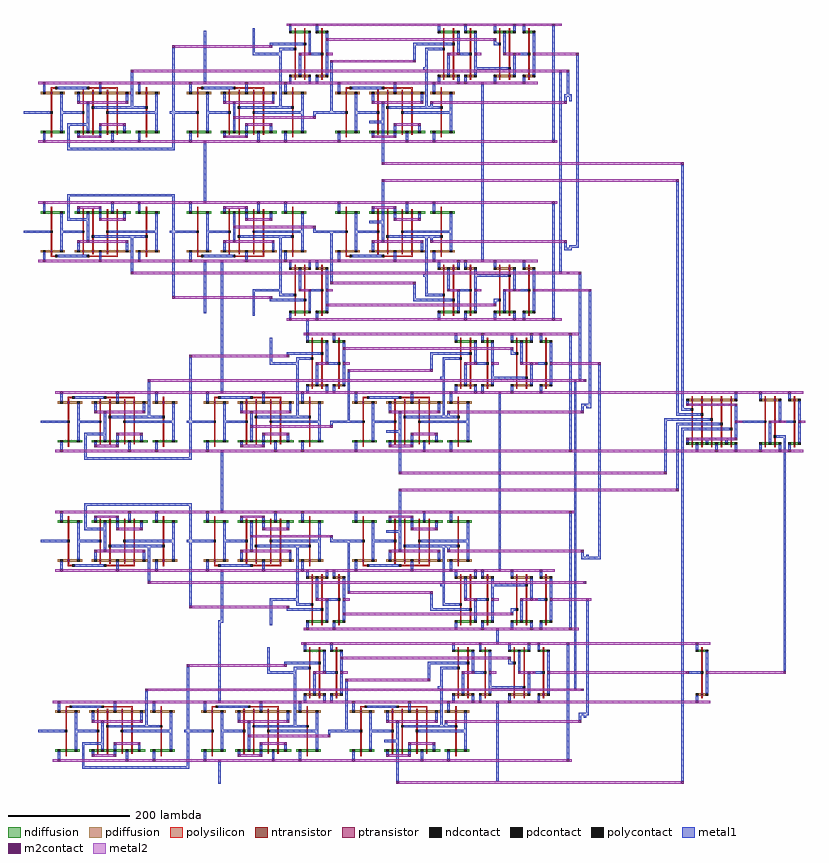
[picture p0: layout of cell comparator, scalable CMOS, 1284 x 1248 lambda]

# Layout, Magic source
magic
tech scmos
<< metal1 >>
rect 1072 608 1076 988
rect 1080 612 1084 1016
rect 1072 604 1080 608
rect 1052 596 1080 600
rect 1052 512 1056 596
rect 1180 592 1216 596
rect 1072 588 1080 592
rect 1072 484 1076 588
rect 1080 4 1084 584
rect 1236 568 1252 572
rect 1248 184 1252 568
rect 1092 180 1096 184
<< metal2 >>
rect 592 1016 1080 1020
rect 592 988 1072 992
rect 872 640 1084 644
rect 1176 640 1204 644
rect 904 544 1116 548
rect 1176 544 1204 548
rect 620 508 1052 512
rect 620 480 1072 484
rect 908 228 1100 232
rect 932 180 1088 184
rect 1132 180 1248 184
rect 868 132 1100 136
rect 616 0 1080 4
<< polycontact >>
rect 1216 592 1220 596
rect 1232 568 1236 572
<< m2contact >>
rect 588 1016 592 1020
rect 1080 1016 1084 1020
rect 588 988 592 992
rect 1072 988 1076 992
rect 1176 592 1180 596
rect 616 508 620 512
rect 1052 508 1056 512
rect 616 480 620 484
rect 1072 480 1076 484
rect 1088 180 1092 184
rect 1248 180 1252 184
rect 612 0 616 4
rect 1080 0 1084 4
use adder5bit  adder5bit_0
transform 1 0 -428 0 1 880
box 428 -880 1376 368
use nor  nor_0
transform 1 0 1128 0 1 604
box -48 -60 52 40
use or  or_0
transform 1 0 1204 0 1 544
box 0 0 80 100
use not  not_0
transform 1 0 1092 0 -1 180
box 4 -52 40 48
<< end >>

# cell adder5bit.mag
magic
tech scmos
<< metal1 >>
rect 804 356 808 360
rect 428 220 432 224
rect 724 112 728 138
rect 1016 136 1020 140
rect 1016 108 1020 112
rect 1180 107 1184 141
rect 428 24 432 28
rect 752 -179 756 -24
rect 1308 -40 1312 288
rect 1320 248 1324 288
rect 1324 240 1328 244
rect 1336 4 1340 316
rect 1324 0 1340 4
rect 804 -112 808 -108
rect 892 -140 896 -120
rect 832 -156 836 -148
rect 1340 -216 1344 -44
rect 456 -288 460 -284
rect 752 -412 756 -345
rect 1044 -372 1048 -368
rect 1044 -400 1048 -396
rect 1208 -415 1212 -360
rect 456 -484 460 -480
rect 1332 -548 1336 -220
rect 1356 -264 1360 -72
rect 1372 -508 1376 -192
rect 1344 -512 1376 -508
rect 748 -661 752 -612
rect 832 -620 836 -616
rect 1204 -648 1208 -628
rect 828 -660 832 -656
rect 1332 -724 1336 -552
rect 1352 -768 1356 -580
rect 452 -796 456 -792
rect 1040 -880 1044 -876
<< metal2 >>
rect 1328 316 1336 320
rect 1320 -44 1340 -40
rect 1332 -72 1356 -68
rect 1356 -192 1372 -188
rect 1356 -700 1360 -696
<< m2contact >>
rect 1336 316 1340 320
rect 1308 288 1312 292
rect 752 -24 756 -20
rect 1320 288 1324 292
rect 1308 -44 1312 -40
rect 1340 -44 1344 -40
rect 892 -120 896 -116
rect 892 -144 896 -140
rect 1332 -220 1336 -216
rect 1340 -220 1344 -216
rect 1356 -72 1360 -68
rect 1372 -192 1376 -188
rect 1332 -552 1336 -548
rect 1204 -628 1208 -624
rect 1204 -652 1208 -648
rect 1332 -728 1336 -724
rect 1352 -580 1356 -576
use addsub  addsub_3
transform 1 0 680 0 -1 -416
box -220 -20 680 212
use addsub  addsub_0
transform 1 0 652 0 1 156
box -220 -20 680 212
use addsub  addsub_1
transform 1 0 652 0 -1 92
box -220 -20 680 212
use addsub  addsub_2
transform 1 0 680 0 1 -352
box -220 -20 680 212
use addsub  addsub_4
transform 1 0 676 0 1 -860
box -220 -20 680 212
<< end >>

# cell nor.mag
magic
tech scmos
<< polysilicon >>
rect -31 28 -29 32
rect -15 28 -13 32
rect 1 28 3 32
rect 17 28 19 32
rect 33 28 35 32
rect -31 12 -29 24
rect -31 -44 -29 8
rect -15 4 -13 24
rect -15 -44 -13 0
rect 1 -4 3 24
rect 1 -44 3 -8
rect 17 -12 19 24
rect 17 -44 19 -16
rect 33 -20 35 24
rect 33 -44 35 -24
rect -31 -52 -29 -48
rect -15 -52 -13 -48
rect 1 -52 3 -48
rect 17 -52 19 -48
rect 33 -52 35 -48
<< ndiffusion >>
rect -36 -48 -31 -44
rect -29 -48 -24 -44
rect -20 -48 -15 -44
rect -13 -48 -8 -44
rect -4 -48 1 -44
rect 3 -48 8 -44
rect 12 -48 17 -44
rect 19 -48 24 -44
rect 28 -48 33 -44
rect 35 -48 40 -44
<< pdiffusion >>
rect -36 24 -31 28
rect -29 24 -15 28
rect -13 24 1 28
rect 3 24 17 28
rect 19 24 33 28
rect 35 24 40 28
<< metal1 >>
rect 40 28 44 36
rect -40 20 -36 24
rect -36 16 40 20
rect -48 8 -32 12
rect -48 0 -16 4
rect -48 -8 0 -4
rect 40 -8 44 16
rect 44 -12 48 -8
rect -48 -16 16 -12
rect -48 -24 32 -20
rect 40 -36 44 -12
rect -36 -40 40 -36
rect -40 -44 -36 -40
rect -8 -44 -4 -40
rect 24 -44 28 -40
rect -24 -56 -20 -48
rect 8 -56 12 -48
rect 40 -56 44 -48
<< metal2 >>
rect -44 36 40 40
rect 44 36 48 40
rect -36 16 40 20
rect 44 -12 52 -8
rect -36 -40 40 -36
rect -44 -60 -24 -56
rect -20 -60 8 -56
rect 12 -60 40 -56
rect 44 -60 48 -56
<< ntransistor >>
rect -31 -48 -29 -44
rect -15 -48 -13 -44
rect 1 -48 3 -44
rect 17 -48 19 -44
rect 33 -48 35 -44
<< ptransistor >>
rect -31 24 -29 28
rect -15 24 -13 28
rect 1 24 3 28
rect 17 24 19 28
rect 33 24 35 28
<< polycontact >>
rect -32 8 -28 12
rect -16 0 -12 4
rect 0 -8 4 -4
rect 16 -16 20 -12
rect 32 -24 36 -20
<< ndcontact >>
rect -40 -48 -36 -44
rect -24 -48 -20 -44
rect -8 -48 -4 -44
rect 8 -48 12 -44
rect 24 -48 28 -44
rect 40 -48 44 -44
<< pdcontact >>
rect -40 24 -36 28
rect 40 24 44 28
<< m2contact >>
rect 40 36 44 40
rect -40 16 -36 20
rect 40 16 44 20
rect 40 -12 44 -8
rect -40 -40 -36 -36
rect 40 -40 44 -36
rect -24 -60 -20 -56
rect 8 -60 12 -56
rect 40 -60 44 -56
<< end >>

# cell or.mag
magic
tech scmos
<< metal2 >>
rect 44 96 48 100
rect 44 0 48 4
<< m2contact >>
rect 44 48 48 52
use not  not_0
transform 1 0 40 0 1 52
box 4 -52 40 48
use nor1  nor1_0
transform 1 0 -4 0 1 52
box 4 -52 52 48
<< end >>

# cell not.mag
magic
tech scmos
<< polysilicon >>
rect 21 36 23 40
rect 21 0 23 32
rect 21 -36 23 -4
rect 21 -44 23 -40
<< ndiffusion >>
rect 16 -40 21 -36
rect 23 -40 28 -36
<< pdiffusion >>
rect 16 32 21 36
rect 23 32 28 36
<< metal1 >>
rect 12 36 16 44
rect 28 0 32 32
rect 4 -4 20 0
rect 28 -36 32 -4
rect 12 -48 16 -40
<< metal2 >>
rect 8 44 12 48
rect 16 44 36 48
rect 32 -4 40 0
rect 8 -52 12 -48
rect 16 -52 36 -48
<< ntransistor >>
rect 21 -40 23 -36
<< ptransistor >>
rect 21 32 23 36
<< polycontact >>
rect 20 -4 24 0
<< ndcontact >>
rect 12 -40 16 -36
rect 28 -40 32 -36
<< pdcontact >>
rect 12 32 16 36
rect 28 32 32 36
<< m2contact >>
rect 12 44 16 48
rect 28 -4 32 0
rect 12 -52 16 -48
<< end >>

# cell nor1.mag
magic
tech scmos
<< polysilicon >>
rect 17 36 19 40
rect 33 36 35 40
rect 17 -36 19 32
rect 33 -36 35 32
rect 17 -44 19 -40
rect 33 -44 35 -40
<< ndiffusion >>
rect 12 -40 17 -36
rect 19 -40 24 -36
rect 28 -40 33 -36
rect 35 -40 40 -36
<< pdiffusion >>
rect 12 32 17 36
rect 19 32 33 36
rect 35 32 40 36
<< metal1 >>
rect 8 36 12 44
rect 40 0 44 32
rect 24 -36 28 -4
rect 8 -48 12 -40
rect 40 -48 44 -40
<< metal2 >>
rect 4 44 8 48
rect 12 44 48 48
rect 28 -4 40 0
rect 44 -4 52 0
rect 4 -52 8 -48
rect 12 -52 40 -48
rect 44 -52 48 -48
<< ntransistor >>
rect 17 -40 19 -36
rect 33 -40 35 -36
<< ptransistor >>
rect 17 32 19 36
rect 33 32 35 36
<< ndcontact >>
rect 8 -40 12 -36
rect 24 -40 28 -36
rect 40 -40 44 -36
<< pdcontact >>
rect 8 32 12 36
rect 40 32 44 36
<< m2contact >>
rect 8 44 12 48
rect 24 -4 28 0
rect 40 -4 44 0
rect 8 -52 12 -48
rect 40 -52 44 -48
<< end >>

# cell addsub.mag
magic
tech scmos
<< metal1 >>
rect 72 186 76 200
rect 152 182 156 200
rect 21 155 24 159
rect -48 72 -44 132
rect -220 64 -205 68
rect -152 64 -148 68
rect -152 44 -116 48
rect -152 8 -148 44
rect 20 8 24 68
rect -152 4 24 8
rect 72 -20 76 -10
rect 364 -16 368 -8
rect 528 -16 532 112
rect 668 92 672 96
rect 672 88 676 92
<< metal2 >>
rect 656 208 660 212
rect 672 160 680 164
rect -44 132 668 136
rect -6 112 48 116
rect -10 16 44 20
<< m2contact >>
rect -48 132 -44 136
rect 668 132 672 136
rect 528 112 532 116
use xor3  xor3_0
transform 1 0 -120 0 1 20
box -96 -4 124 96
use adder3  adder2_0
transform 1 0 44 0 1 48
box -28 -63 632 164
<< end >>

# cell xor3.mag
magic
tech scmos
<< polysilicon >>
rect -59 85 -52 87
rect -59 82 -57 85
rect 4 85 51 87
rect -7 80 -5 83
rect 9 80 11 83
rect 33 80 35 83
rect 49 80 51 85
rect -7 48 -5 76
rect 9 56 11 76
rect -7 16 -5 44
rect 9 16 11 52
rect 33 48 35 76
rect 33 16 35 44
rect 49 16 51 76
rect -7 9 -5 12
rect 9 9 11 12
rect 33 9 35 12
rect 49 9 51 12
<< ndiffusion >>
rect -20 12 -16 16
rect -12 12 -7 16
rect -5 12 0 16
rect 4 12 9 16
rect 11 12 20 16
rect 24 12 33 16
rect 35 12 40 16
rect 44 12 49 16
rect 51 12 60 16
rect 64 12 72 16
<< pdiffusion >>
rect -20 76 -16 80
rect -12 76 -7 80
rect -5 76 9 80
rect 11 76 20 80
rect 24 76 33 80
rect 35 76 49 80
rect 51 76 64 80
rect 68 76 72 80
<< metal1 >>
rect -48 84 0 88
rect 20 80 24 92
rect -16 64 -12 76
rect 64 64 68 76
rect -96 44 -60 48
rect -40 44 -8 48
rect 0 16 4 60
rect 12 52 96 56
rect 36 44 116 48
rect 20 16 24 24
rect 60 16 64 24
rect -16 8 -12 12
rect 20 8 24 12
rect 40 0 44 12
<< metal2 >>
rect -36 92 20 96
rect 24 92 76 96
rect -12 60 0 64
rect 4 60 64 64
rect 24 24 60 28
rect -12 4 20 8
rect -36 -4 40 0
rect 44 -4 76 0
<< ntransistor >>
rect -7 12 -5 16
rect 9 12 11 16
rect 33 12 35 16
rect 49 12 51 16
<< ptransistor >>
rect -7 76 -5 80
rect 9 76 11 80
rect 33 76 35 80
rect 49 76 51 80
<< polycontact >>
rect -52 84 -48 88
rect 0 84 4 88
rect 8 52 12 56
rect -60 44 -56 48
rect -8 44 -4 48
rect 32 44 36 48
rect 96 52 100 56
<< ndcontact >>
rect -16 12 -12 16
rect 0 12 4 16
rect 20 12 24 16
rect 40 12 44 16
rect 60 12 64 16
<< pdcontact >>
rect -16 76 -12 80
rect 20 76 24 80
rect 64 76 68 80
<< m2contact >>
rect 20 92 24 96
rect -16 60 -12 64
rect 0 60 4 64
rect 64 60 68 64
rect 20 24 24 28
rect 60 24 64 28
rect -16 4 -12 8
rect 20 4 24 8
rect 40 -4 44 0
use inv  inv_0
transform 1 0 -52 0 1 36
box -28 -40 20 60
use inv  inv_1
transform 1 0 104 0 1 36
box -28 -40 20 60
<< end >>

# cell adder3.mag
magic
tech scmos
<< metal1 >>
rect -24 20 -20 124
rect 28 68 32 148
rect 108 116 112 144
rect 504 132 508 136
rect 136 128 168 132
rect 372 128 411 132
rect 504 128 512 132
rect 152 120 170 124
rect 152 116 156 120
rect 108 112 156 116
rect 152 24 156 112
rect 372 104 376 128
rect 392 120 413 124
rect -28 16 -20 20
rect 208 16 224 20
rect 236 16 240 100
rect 392 92 396 120
rect 388 88 396 92
rect 472 88 528 92
rect 392 24 396 88
rect 400 24 404 32
rect 208 12 212 16
rect 300 0 324 4
rect 28 -63 32 -32
rect 320 -60 324 -9
rect 600 -28 604 160
rect 620 44 632 48
rect 620 36 624 44
<< metal2 >>
rect 228 160 430 164
rect 476 160 508 164
rect 571 160 600 164
rect 604 160 612 164
rect 232 136 504 140
rect -20 124 136 128
rect 476 112 477 116
rect 576 112 628 116
rect 240 100 372 104
rect 200 64 240 68
rect 466 64 501 68
rect 404 32 620 36
rect 80 8 208 12
rect 199 -32 240 -28
rect 432 -32 600 -28
rect 604 -32 608 -28
<< polycontact >>
rect 512 128 516 132
rect 528 88 532 92
<< m2contact >>
rect 600 160 604 164
rect -24 124 -20 128
rect 228 136 232 140
rect 504 136 508 140
rect 136 124 140 128
rect 28 64 32 68
rect 236 100 240 104
rect 372 100 376 104
rect 400 32 404 36
rect 76 8 80 12
rect 208 8 212 12
rect 28 -32 32 -28
rect 620 32 624 36
rect 600 -32 604 -28
use xor3  xor3_1
transform 1 0 320 0 1 -28
box -96 -4 124 96
use xor3  xor3_0
transform 1 0 76 0 1 -28
box -96 -4 124 96
use and  and_0
transform 1 0 172 0 -1 164
box -12 0 68 100
use and  and_1
transform 1 0 416 0 -1 164
box -12 0 68 100
use or  or_0
transform 1 0 500 0 -1 164
box 0 0 80 100
<< end >>

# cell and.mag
magic
tech scmos
<< metal1 >>
rect -12 40 4 44
rect -12 32 20 36
<< metal2 >>
rect 20 96 24 100
<< polycontact >>
rect 48 48 52 52
rect 4 40 8 44
rect 20 32 24 36
use not  not_0
transform 1 0 28 0 1 52
box 4 -52 40 48
use nand  nand_0
transform 1 0 0 0 1 52
box -8 -52 36 48
<< end >>

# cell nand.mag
magic
tech scmos
<< polysilicon >>
rect 5 36 7 40
rect 21 36 23 40
rect 5 -36 7 32
rect 21 -36 23 32
rect 5 -44 7 -40
rect 21 -44 23 -40
<< ndiffusion >>
rect 0 -40 5 -36
rect 7 -40 21 -36
rect 23 -40 28 -36
<< pdiffusion >>
rect 0 32 5 36
rect 7 32 12 36
rect 16 32 21 36
rect 23 32 28 36
<< metal1 >>
rect -4 36 0 44
rect 28 36 32 44
rect 12 0 16 32
rect 28 -36 32 -4
rect -4 -48 0 -40
<< metal2 >>
rect -8 44 -4 48
rect 0 44 28 48
rect 32 44 36 48
rect 16 -4 28 0
rect -8 -52 -4 -48
rect 0 -52 36 -48
<< ntransistor >>
rect 5 -40 7 -36
rect 21 -40 23 -36
<< ptransistor >>
rect 5 32 7 36
rect 21 32 23 36
<< ndcontact >>
rect -4 -40 0 -36
rect 28 -40 32 -36
<< pdcontact >>
rect -4 32 0 36
rect 12 32 16 36
rect 28 32 32 36
<< m2contact >>
rect -4 44 0 48
rect 28 44 32 48
rect 12 -4 16 0
rect 28 -4 32 0
rect -4 -52 0 -48
<< end >>

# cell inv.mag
magic
tech scmos
<< polysilicon >>
rect -7 44 -5 51
rect -7 -20 -5 40
rect -7 -31 -5 -24
<< ndiffusion >>
rect -24 -24 -20 -20
rect -16 -24 -7 -20
rect -5 -24 8 -20
rect 12 -24 16 -20
<< pdiffusion >>
rect -24 40 -20 44
rect -16 40 -7 44
rect -5 40 8 44
rect 12 40 16 44
<< metal1 >>
rect -20 44 -16 56
rect 8 -20 12 40
rect -20 -36 -16 -24
<< metal2 >>
rect -28 56 -20 60
rect -16 56 20 60
rect -28 -40 -20 -36
rect -16 -40 20 -36
<< ntransistor >>
rect -7 -24 -5 -20
<< ptransistor >>
rect -7 40 -5 44
<< ndcontact >>
rect -20 -24 -16 -20
rect 8 -24 12 -20
<< pdcontact >>
rect -20 40 -16 44
rect 8 40 12 44
<< m2contact >>
rect -20 56 -16 60
rect -20 -40 -16 -36
<< end >>
